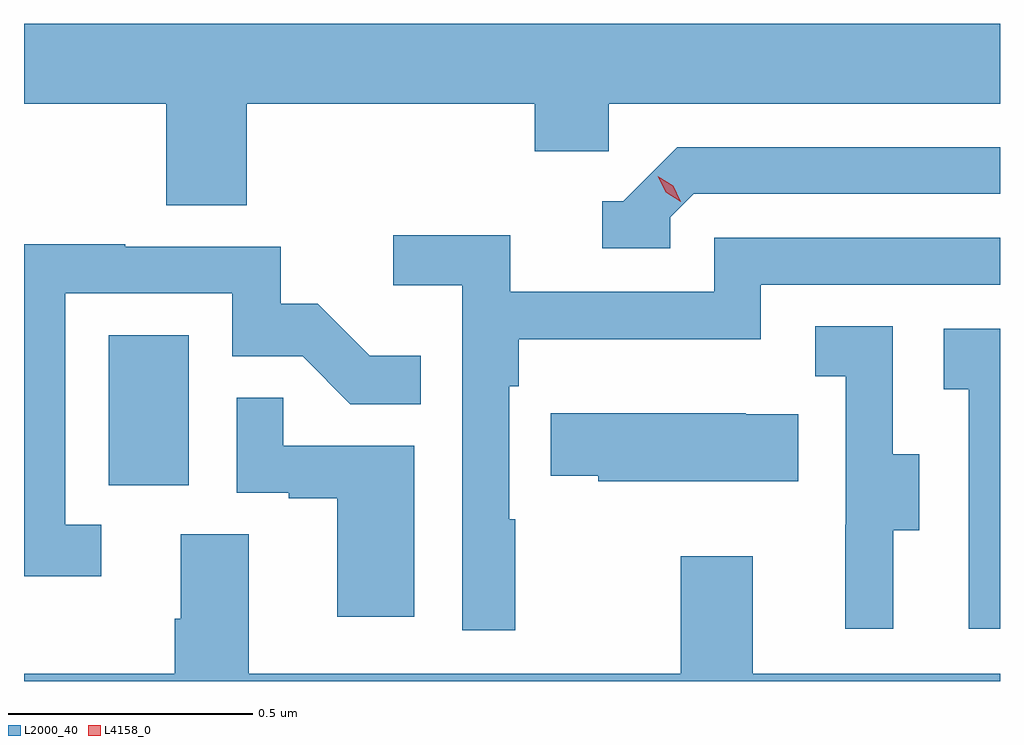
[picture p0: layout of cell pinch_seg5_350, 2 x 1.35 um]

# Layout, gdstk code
import gdstk
lib = gdstk.Library(unit=1e-6, precision=1e-09)
def R(c, l, rs):  # rectangles x0, y0, x1, y1
    for r in rs: c.add(gdstk.rectangle(r[:2], r[2:], *l))
def P(c, l, *ps):  # polygons
    for p in ps: c.add(gdstk.Polygon(p, *l))
L2000_40 = (2000, 40)
L4158_0 = (4158, 0)

pinch_seg5_350 = lib.new_cell('pinch_seg5_350')
R(pinch_seg5_350, L2000_40, [(950.978,891.942,951.142,892.249)])
P(pinch_seg5_350, L2000_40, [(950.804,892.724),(951.095,892.724),(951.095,892.516),(951.26,892.516),(951.26,892.724),(951.851,892.724),(951.851,892.626),(952.002,892.626),(952.002,892.724),(952.804,892.724),(952.804,892.888),(950.804,892.888)],
  [(952.128,892.491),(952.176,892.539),(952.804,892.539),(952.804,892.635),(952.143,892.635),(952.032,892.524),(951.989,892.524),(951.989,892.428),(952.128,892.428)],
  [(951.811,891.872),(951.798,891.872),(951.798,892.145),(951.818,892.145),(951.818,892.241),(952.314,892.241),(952.314,892.353),(952.804,892.353),(952.804,892.449),(952.218,892.449),(952.218,892.338),(951.8,892.338),(951.8,892.454),(951.561,892.454),(951.561,892.352),(951.702,892.352),(951.702,891.645),(951.811,891.645)],
  [(950.962,891.861),(950.889,891.861),(950.889,892.335),(951.231,892.335),(951.231,892.206),(951.375,892.206),(951.473,892.108),(951.617,892.108),(951.617,892.207),(951.513,892.207),(951.406,892.314),(951.33,892.314),(951.33,892.431),(951.011,892.431),(951.011,892.436),(950.804,892.436),(950.804,891.756),(950.962,891.756)],
  [(952.585,891.85),(952.639,891.85),(952.639,892.005),(952.584,892.005),(952.584,892.268),(952.425,892.268),(952.425,892.165),(952.488,892.165),(952.488,891.861),(952.487,891.861),(952.487,891.648),(952.585,891.648)],
  [(952.804,892.263),(952.689,892.263),(952.689,892.139),(952.74,892.139),(952.74,891.648),(952.804,891.648)],
  [(951.604,892.023),(951.335,892.023),(951.335,892.121),(951.24,892.121),(951.24,891.927),(951.347,891.927),(951.347,891.915),(951.446,891.915),(951.446,891.672),(951.604,891.672)],
  [(952.391,892.087),(952.283,892.087),(952.283,892.09),(951.883,892.09),(951.883,891.961),(951.981,891.961),(951.981,891.95),(952.391,891.95)],
  [(952.804,891.556),(952.297,891.556),(952.297,891.796),(952.15,891.796),(952.15,891.556),(951.265,891.556),(951.265,891.842),(951.125,891.842),(951.125,891.668),(951.113,891.668),(951.113,891.556),(950.804,891.556),(950.804,891.54),(952.804,891.54)])
P(pinch_seg5_350, L4158_0, [(952.15,892.523),(952.119,892.542),(952.103,892.575),(952.103,892.575),(952.103,892.575),(952.134,892.556),(952.15,892.523),(952.15,892.523)])

lib.write_gds('pinch_seg5_350.gds')
